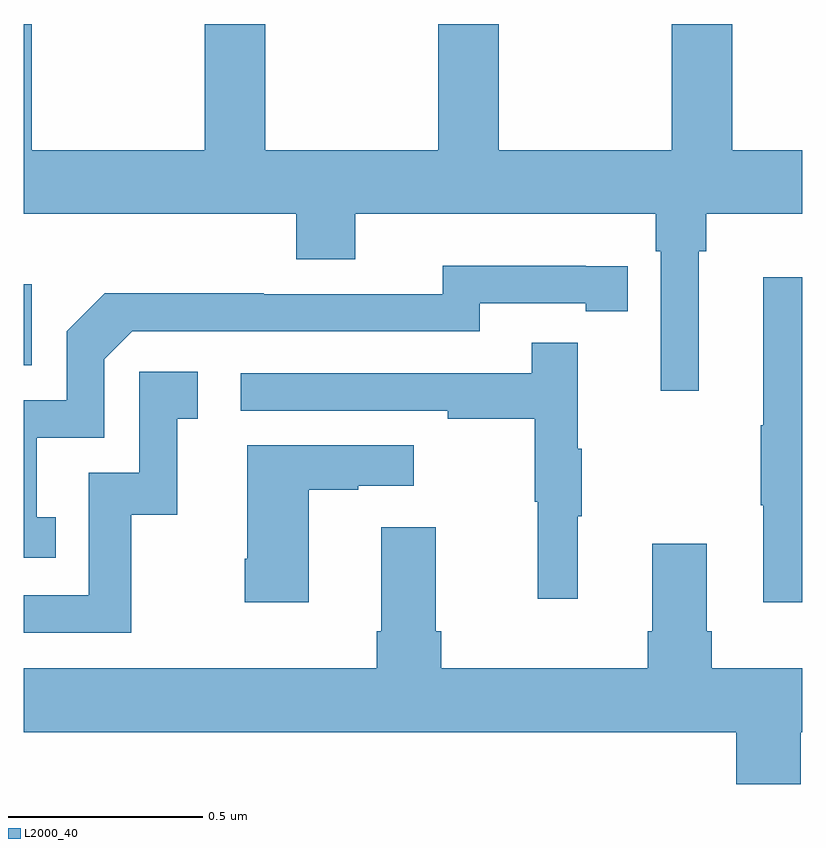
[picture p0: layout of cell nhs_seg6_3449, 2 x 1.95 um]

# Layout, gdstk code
import gdstk
lib = gdstk.Library(unit=1e-6, precision=1e-09)
def R(c, l, rs):  # rectangles x0, y0, x1, y1
    for r in rs: c.add(gdstk.rectangle(r[:2], r[2:], *l))
def P(c, l, *ps):  # polygons
    for p in ps: c.add(gdstk.Polygon(p, *l))
L2000_40 = (2000, 40)

nhs_seg6_3449 = lib.new_cell('nhs_seg6_3449')
R(nhs_seg6_3449, L2000_40, [(157,937.623,157.02,937.831)])
P(nhs_seg6_3449, L2000_40, [(157.465,938.5),(157.465,938.176),(157.02,938.176),(157.02,938.5),(157,938.5),(157,938.012),(157.7,938.012),(157.7,937.895),(157.852,937.895),(157.852,938.012),(158.624,938.012),(158.624,937.916),(158.637,937.916),(158.637,937.557),(158.734,937.557),(158.734,937.916),(158.753,937.916),(158.753,938.012),(159,938.012),(159,938.176),(158.82,938.176),(158.82,938.5),(158.665,938.5),(158.665,938.176),(158.22,938.176),(158.22,938.5),(158.065,938.5),(158.065,938.176),(157.62,938.176),(157.62,938.5)],
  [(157.082,937.233),(157.033,937.233),(157.033,937.437),(157.206,937.437),(157.206,937.638),(157.278,937.71),(158.172,937.71),(158.172,937.782),(158.444,937.782),(158.444,937.762),(158.552,937.762),(158.552,937.878),(158.444,937.878),(158.444,937.879),(158.076,937.879),(158.076,937.806),(157.616,937.806),(157.616,937.808),(157.208,937.808),(157.11,937.71),(157.11,937.533),(157,937.533),(157,937.128),(157.082,937.128)],
  [(159,937.849),(158.9,937.849),(158.9,937.469),(158.893,937.469),(158.893,937.263),(158.9,937.263),(158.9,937.014),(159,937.014)],
  [(158.423,937.235),(158.434,937.235),(158.434,937.409),(158.423,937.409),(158.423,937.681),(158.305,937.681),(158.305,937.602),(157.557,937.602),(157.557,937.506),(158.089,937.506),(158.089,937.486),(158.313,937.486),(158.313,937.272),(158.32,937.272),(158.32,937.023),(158.423,937.023)],
  [(157.276,937.239),(157.394,937.239),(157.394,937.485),(157.447,937.485),(157.447,937.606),(157.296,937.606),(157.296,937.347),(157.167,937.347),(157.167,937.032),(157,937.032),(157,936.936),(157.276,936.936)],
  [(157.732,937.303),(157.859,937.303),(157.859,937.313),(158.002,937.313),(158.002,937.417),(157.574,937.417),(157.574,937.126),(157.567,937.126),(157.567,937.014),(157.732,937.014)],
  [(158.996,936.68),(159,936.68),(159,936.844),(158.768,936.844),(158.768,936.94),(158.755,936.94),(158.755,937.165),(158.615,937.165),(158.615,936.94),(158.603,936.94),(158.603,936.844),(158.072,936.844),(158.072,936.94),(158.059,936.94),(158.059,937.207),(157.919,937.207),(157.919,936.94),(157.907,936.94),(157.907,936.844),(157,936.844),(157,936.68),(158.831,936.68),(158.831,936.547),(158.996,936.547)])

lib.write_gds('nhs_seg6_3449.gds')
